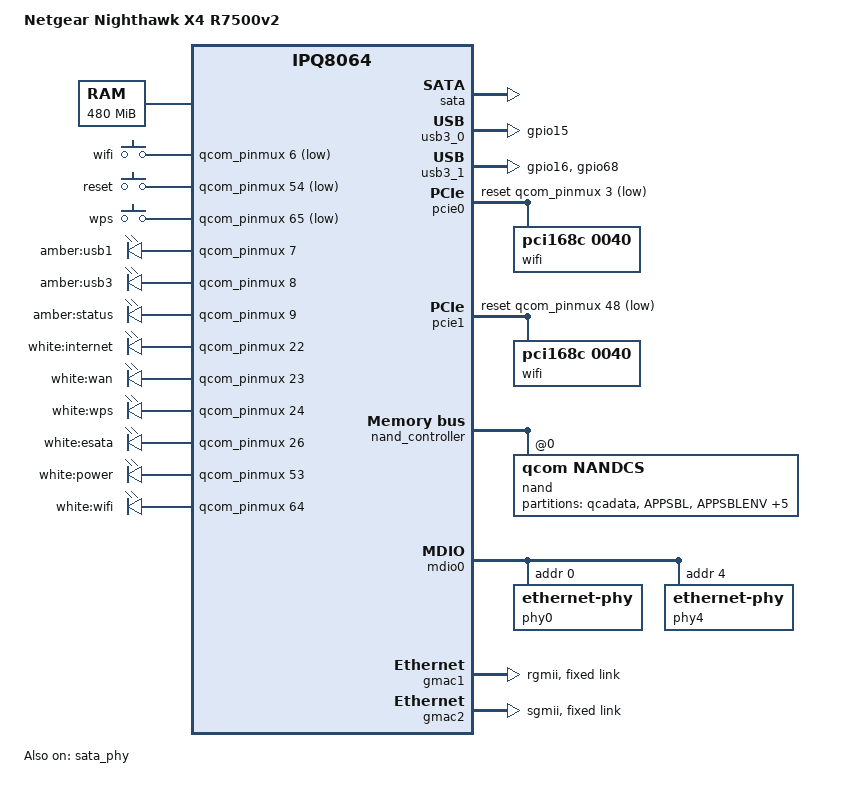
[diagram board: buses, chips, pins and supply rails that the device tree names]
#include "qcom-ipq8064-v2.0.dtsi"

#include <dt-bindings/input/input.h>

/ {
	model = "Netgear Nighthawk X4 R7500v2";
	compatible = "netgear,r7500v2", "qcom,ipq8064";

	memory@0 {
		reg = <0x42000000 0x1e000000>;
		device_type = "memory";
	};

	reserved-memory {
		rsvd@5fe00000 {
			reg = <0x5fe00000 0x200000>;
			reusable;
		};
	};

	aliases {
		mdio-gpio0 = &mdio0;

		led-boot = &power;
		led-failsafe = &power;
		led-running = &power;
		led-upgrade = &power;
	};

	chosen {
		bootargs = "rootfstype=squashfs noinitrd";
	};

	keys {
		compatible = "gpio-keys";
		pinctrl-0 = <&button_pins>;
		pinctrl-names = "default";

		wifi {
			label = "wifi";
			gpios = <&qcom_pinmux 6 GPIO_ACTIVE_LOW>;
			linux,code = <KEY_RFKILL>;
			debounce-interval = <60>;
			wakeup-source;
		};

		reset {
			label = "reset";
			gpios = <&qcom_pinmux 54 GPIO_ACTIVE_LOW>;
			linux,code = <KEY_RESTART>;
			debounce-interval = <60>;
			wakeup-source;
		};

		wps {
			label = "wps";
			gpios = <&qcom_pinmux 65 GPIO_ACTIVE_LOW>;
			linux,code = <KEY_WPS_BUTTON>;
			debounce-interval = <60>;
			wakeup-source;
		};
	};

	leds {
		compatible = "gpio-leds";
		pinctrl-0 = <&led_pins>;
		pinctrl-names = "default";

		usb1 {
			label = "amber:usb1";
			gpios = <&qcom_pinmux 7 GPIO_ACTIVE_HIGH>;
		};

		usb3 {
			label = "amber:usb3";
			gpios = <&qcom_pinmux 8 GPIO_ACTIVE_HIGH>;
		};

		status {
			label = "amber:status";
			gpios = <&qcom_pinmux 9 GPIO_ACTIVE_HIGH>;
		};

		internet {
			label = "white:internet";
			gpios = <&qcom_pinmux 22 GPIO_ACTIVE_HIGH>;
		};

		wan {
			label = "white:wan";
			gpios = <&qcom_pinmux 23 GPIO_ACTIVE_HIGH>;
		};

		wps {
			label = "white:wps";
			gpios = <&qcom_pinmux 24 GPIO_ACTIVE_HIGH>;
		};

		esata {
			label = "white:esata";
			gpios = <&qcom_pinmux 26 GPIO_ACTIVE_HIGH>;
		};

		power: power {
			label = "white:power";
			gpios = <&qcom_pinmux 53 GPIO_ACTIVE_HIGH>;
			default-state = "keep";
		};

		wifi {
			label = "white:wifi";
			gpios = <&qcom_pinmux 64 GPIO_ACTIVE_HIGH>;
		};
	};
};

&adm_dma {
	status = "okay";
};

&qcom_pinmux {
	button_pins: button_pins {
		mux {
			pins = "gpio6", "gpio54", "gpio65";
			function = "gpio";
			drive-strength = <2>;
			bias-pull-up;
		};
	};

	led_pins: led_pins {
		mux {
			pins = "gpio7", "gpio8", "gpio9", "gpio22", "gpio23",
				"gpio24","gpio26", "gpio53", "gpio64";
			function = "gpio";
			drive-strength = <2>;
			bias-pull-up;
		};
	};

	usb0_pwr_en_pins: usb0_pwr_en_pins {
		mux {
			pins = "gpio15";
			function = "gpio";
			drive-strength = <12>;
			bias-pull-down;
			output-high;
		};
	};

	usb1_pwr_en_pins: usb1_pwr_en_pins {
		mux {
			pins = "gpio16", "gpio68";
			function = "gpio";
			drive-strength = <12>;
			bias-pull-down;
			output-high;
		};
	};
};

&sata_phy {
	status = "okay";
};

&sata {
	status = "okay";
};

&usb3_0 {
	status = "okay";

	pinctrl-0 = <&usb0_pwr_en_pins>;
	pinctrl-names = "default";
};

&usb3_1 {
	status = "okay";

	pinctrl-0 = <&usb1_pwr_en_pins>;
	pinctrl-names = "default";
};

&pcie0 {
	status = "okay";
	reset-gpio = <&qcom_pinmux 3 GPIO_ACTIVE_LOW>;
	pinctrl-0 = <&pcie0_pins>;
	pinctrl-names = "default";

	bridge@0,0 {
		reg = <0x00000000 0 0 0 0>;
		#address-cells = <3>;
		#size-cells = <2>;
		ranges;

		wifi@1,0 {
			compatible = "pci168c,0040";
			reg = <0x00010000 0 0 0 0>;

			nvmem-cells = <&macaddr_art_6>, <&precal_art_1000>;
			nvmem-cell-names = "mac-address", "pre-calibration";
			mac-address-increment = <(1)>;
		};
	};
};

&pcie1 {
	status = "okay";
	reset-gpio = <&qcom_pinmux 48 GPIO_ACTIVE_LOW>;
	pinctrl-0 = <&pcie1_pins>;
	pinctrl-names = "default";
	max-link-speed = <1>;

	bridge@0,0 {
		reg = <0x00000000 0 0 0 0>;
		#address-cells = <3>;
		#size-cells = <2>;
		ranges;

		wifi@1,0 {
			compatible = "pci168c,0040";
			reg = <0x00010000 0 0 0 0>;

			nvmem-cells = <&macaddr_art_6>, <&precal_art_5000>;
			nvmem-cell-names = "mac-address", "pre-calibration";
			mac-address-increment = <(2)>;
		};
	};
};

&nand_controller {
	status = "okay";

	pinctrl-0 = <&nand_pins>;
	pinctrl-names = "default";

	nand@0 {
		reg = <0>;
		compatible = "qcom,nandcs";

		nand-ecc-strength = <4>;
		nand-bus-width = <8>;
		nand-ecc-step-size = <512>;

		nand-is-boot-medium;
		qcom,boot_pages_size = <0x1180000>;

		partitions {
			compatible = "fixed-partitions";
			#address-cells = <1>;
			#size-cells = <1>;

			qcadata@0 {
				label = "qcadata";
				reg = <0x0000000 0x0c80000>;
				read-only;
			};

			APPSBL@c80000 {
				label = "APPSBL";
				reg = <0x0c80000 0x0500000>;
				read-only;
			};

			APPSBLENV@1180000 {
				label = "APPSBLENV";
				reg = <0x1180000 0x0080000>;
				read-only;
			};

			art@1200000 {
				label = "art";
				reg = <0x1200000 0x0140000>;
				read-only;
				compatible = "nvmem-cells";
				#address-cells = <1>;
				#size-cells = <1>;

				macaddr_art_0: macaddr@0 {
					reg = <0x0 0x6>;
				};

				macaddr_art_6: macaddr@6 {
					reg = <0x6 0x6>;
				};

				precal_art_1000: precal@1000 {
					reg = <0x1000 0x2f20>;
				};

				precal_art_5000: precal@5000 {
					reg = <0x5000 0x2f20>;
				};
			};

			artbak: art@1340000 {
				label = "artbak";
				reg = <0x1340000 0x0140000>;
				read-only;
			};

			kernel@1480000 {
				label = "kernel";
				reg = <0x1480000 0x0400000>;
			};

			ubi@1880000 {
				label = "ubi";
				reg = <0x1880000 0x6080000>;
			};

			reserve@7900000 {
				label = "reserve";
				reg = <0x7900000 0x0700000>;
				read-only;
			};
		};
	};
};

&mdio0 {
	status = "okay";

	pinctrl-0 = <&mdio0_pins>;
	pinctrl-names = "default";

	phy0: ethernet-phy@0 {
		reg = <0>;
		qca,ar8327-initvals = <
			0x00004 0x7600000   /* PAD0_MODE */
			0x00008 0x1000000   /* PAD5_MODE */
			0x0000c 0x80        /* PAD6_MODE */
			0x000e4 0xaa545     /* MAC_POWER_SEL */
			0x000e0 0xc74164de  /* SGMII_CTRL */
			0x0007c 0x4e        /* PORT0_STATUS */
			0x00094 0x4e        /* PORT6_STATUS */
			>;
	};

	phy4: ethernet-phy@4 {
		reg = <4>;
	};
};

&gmac1 {
	status = "okay";
	phy-mode = "rgmii";
	qcom,id = <1>;

	pinctrl-0 = <&rgmii2_pins>;
	pinctrl-names = "default";

	nvmem-cells = <&macaddr_art_6>;
	nvmem-cell-names = "mac-address";

	fixed-link {
		speed = <1000>;
		full-duplex;
	};
};

&gmac2 {
	status = "okay";
	phy-mode = "sgmii";
	qcom,id = <2>;

	nvmem-cells = <&macaddr_art_0>;
	nvmem-cell-names = "mac-address";

	fixed-link {
		speed = <1000>;
		full-duplex;
	};
};
